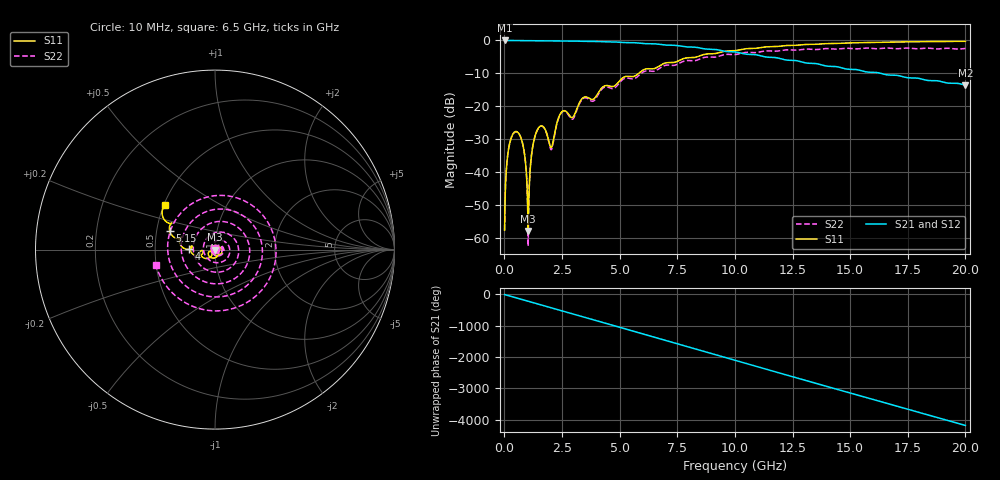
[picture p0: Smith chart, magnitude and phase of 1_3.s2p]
! TOUCHSTONE file generated by CST DESIGN STUDIO
! Date and time: Wed Oct  5 17:41:29 2022
! Project name: C:\Users\posit\AppData\Local\Temp\CSTDE1\Temp\DE4\Untitled_0.cst
! Tree item: Tasks\SPara1\S-Parameters
! Header version: 2018
! Port assignment regex: !\s*Touchstone port\s*([0-9]+)\s*=\s*(CST MWS port|CST DS port)\s*([0-9]+|Zmin|Zmax)\s*\(\"(.*)\"\)(\s*mode\s*([0-9]+))?.*
! Touchstone port assignment:
! Touchstone port 1 = CST DS port 1 ("")
! Touchstone port 2 = CST DS port 2 ("")
# GHz S RI R 50
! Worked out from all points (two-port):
!   2000 points, 10 MHz to 20 GHz, reference 50 ohm
!   highest |S21| = 0.00 dB at 10 MHz (marker M1); lowest = -13.6 dB at 20 GHz (marker M2)
!   |S21| within 3 dB of the highest: start of sweep to 9.357 GHz
!   lowest |S11| = -58.0 dB at 1.03 GHz (marker M3), VSWR 1.00, Z = 50 - j0.126 ohm
!   |S11| at or under -10 dB: start of sweep to 5.827 GHz
!   |S22| runs from -62.6 to -2.3 dB; largest |S21 - S12| = 0
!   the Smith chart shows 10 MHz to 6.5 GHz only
!   S11 on the Smith chart (normalised r, x): 10 MHz: 1.00, +0.00; 4 GHz: 0.75, +0.00; 5.15 GHz: 0.59, +0.13; 6.5 GHz: 0.51, +0.30
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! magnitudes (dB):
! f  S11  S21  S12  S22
! 10 MHz  -57.8  0.0  0.0  -57.8
! 180 MHz  -33.1  0.0  0.0  -33.1
! 450 MHz  -27.9  0.0  0.0  -27.9
! 780 MHz  -31.1  0.0  0.0  -31.1
! 970 MHz  -42.2  -0.1  -0.1  -42.3
! 1.03 GHz  -58.0  -0.1  -0.1  -62.6
! 1.1 GHz  -41.3  -0.1  -0.1  -41.4
! 1.24 GHz  -31.9  -0.1  -0.1  -31.9
! 1.46 GHz  -26.8  -0.1  -0.1  -26.9
! 1.71 GHz  -26.4  -0.1  -0.1  -26.5
! 2.04 GHz  -32.6  -0.1  -0.1  -33.2
! 2.45 GHz  -22.1  -0.2  -0.2  -22.2
! 2.97 GHz  -23.4  -0.2  -0.2  -23.9
! 3.35 GHz  -17.9  -0.3  -0.3  -18.2
! 4 GHz  -16.8  -0.3  -0.3  -17.3
! 5.15 GHz  -11.3  -0.6  -0.6  -11.8
! 6.5 GHz  -8.5  -1.0  -1.0  -9.4
! 6.68 GHz  -8.0  -1.1  -1.1  -8.7
! 10.01 GHz  -3.1  -3.5  -3.5  -4.3
! 13.34 GHz  -1.2  -7.0  -7.0  -2.7
! 16.67 GHz  -0.5  -10.5  -10.5  -2.3
! 20 GHz  -0.3  -13.6  -13.6  -2.4
